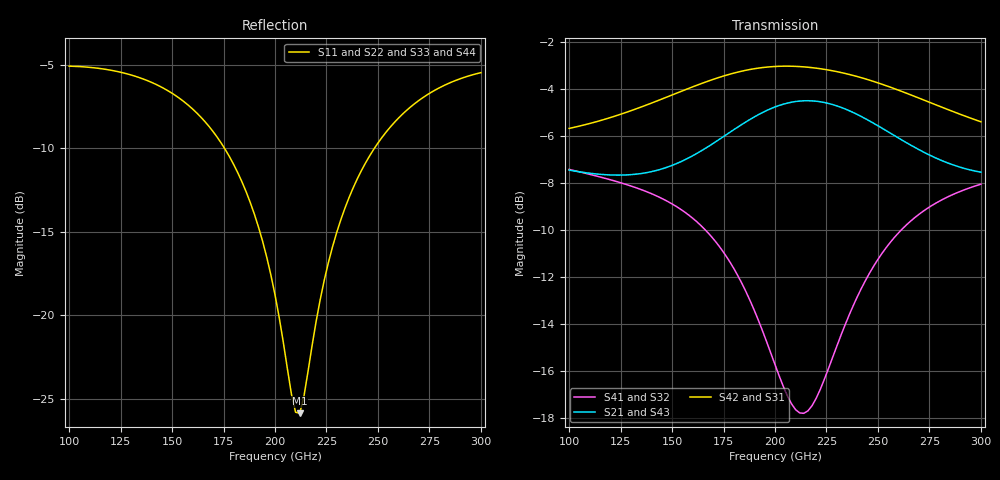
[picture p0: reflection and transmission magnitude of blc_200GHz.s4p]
#  GHZ S DB R 50
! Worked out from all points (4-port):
!   101 points, 100 GHz to 300 GHz, reference 50 ohm
!   strongest paths, dB at 100 GHz, 150 GHz, 200 GHz, 250 GHz, 300 GHz:
!     S42: -5.7, -4.3, -3.1, -3.8, -5.4
!     S31: -5.7, -4.3, -3.1, -3.8, -5.4
!     S21: -7.5, -7.3, -4.8, -5.6, -7.5
!     S43: -7.5, -7.3, -4.8, -5.6, -7.6
!     S41: -7.4, -8.9, -15.7, -11.2, -8.1
!     S32: -7.4, -8.9, -15.7, -11.3, -8.1
!   lowest |S11| = -25.9 dB at 212 GHz (marker M1), VSWR 1.11, Z = 55 - j1.94 ohm
!   |S11| at or under -10 dB: 175.4 GHz to 248.3 GHz (72.86 GHz wide, 34.4 % of centre)
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100  -5.09 157.4  -7.46 -49.4  -5.68 -79.2  -7.43 -61.8
     -7.46 -49.4  -5.09 157.4  -7.42 -61.8  -5.68 -79.2
     -5.68 -79.2  -7.42 -61.8  -5.09 157.4  -7.45 -49.5
     -7.43 -61.8  -5.68 -79.2  -7.45 -49.5  -5.09 157.4
174  -9.72 104.8  -6.09 -71.5  -3.49 -145.9  -10.82 -111.3
     -6.09 -71.5  -9.72 104.9  -10.81 -111.3  -3.49 -145.9
     -3.49 -145.9  -10.81 -111.3  -9.73 104.9  -6.09 -71.5
     -10.82 -111.3  -3.49 -145.9  -6.09 -71.5  -9.72 104.9
192  -14.73 81.5  -5.10 -82.9  -3.12 -166.1  -13.85 -119.5
     -5.10 -82.9  -14.74 81.4  -13.84 -119.5  -3.12 -166.1
     -3.12 -166.1  -13.84 -119.5  -14.76 81.5  -5.10 -83.0
     -13.85 -119.5  -3.12 -166.1  -5.10 -83.0  -14.75 81.5
212  -25.88 -20.3  -4.52 -99.8  -3.06 170.9  -17.76 -99.1
     -4.52 -99.8  -25.83 -20.5  -17.76 -99.2  -3.06 170.9
     -3.06 170.9  -17.76 -99.2  -25.87 -20.8  -4.53 -99.8
     -17.76 -99.1  -3.06 170.9  -4.53 -99.8  -25.88 -20.6
226  -16.81 -92.8  -4.62 -112.2  -3.21 155.0  -15.87 -76.2
     -4.62 -112.2  -16.79 -92.7  -15.88 -76.2  -3.21 155.0
     -3.21 155.0  -15.88 -76.2  -16.78 -92.8  -4.63 -112.2
     -15.87 -76.2  -3.21 155.0  -4.63 -112.2  -16.79 -92.8
242  -11.33 -116.0  -5.18 -124.9  -3.53 137.3  -12.47 -75.2
     -5.18 -124.9  -11.32 -115.9  -12.48 -75.2  -3.53 137.3
     -3.53 137.3  -12.48 -75.2  -11.32 -115.9  -5.19 -125.0
     -12.47 -75.2  -3.53 137.3  -5.19 -125.0  -11.32 -116.0
300  -5.47 -161.9  -7.54 -150.1  -5.40 81.9  -8.05 -114.7
     -7.54 -150.1  -5.47 -161.7  -8.06 -114.6  -5.40 81.9
     -5.40 81.9  -8.06 -114.6  -5.47 -161.8  -7.55 -150.1
     -8.05 -114.7  -5.40 81.9  -7.55 -150.1  -5.47 -161.8
